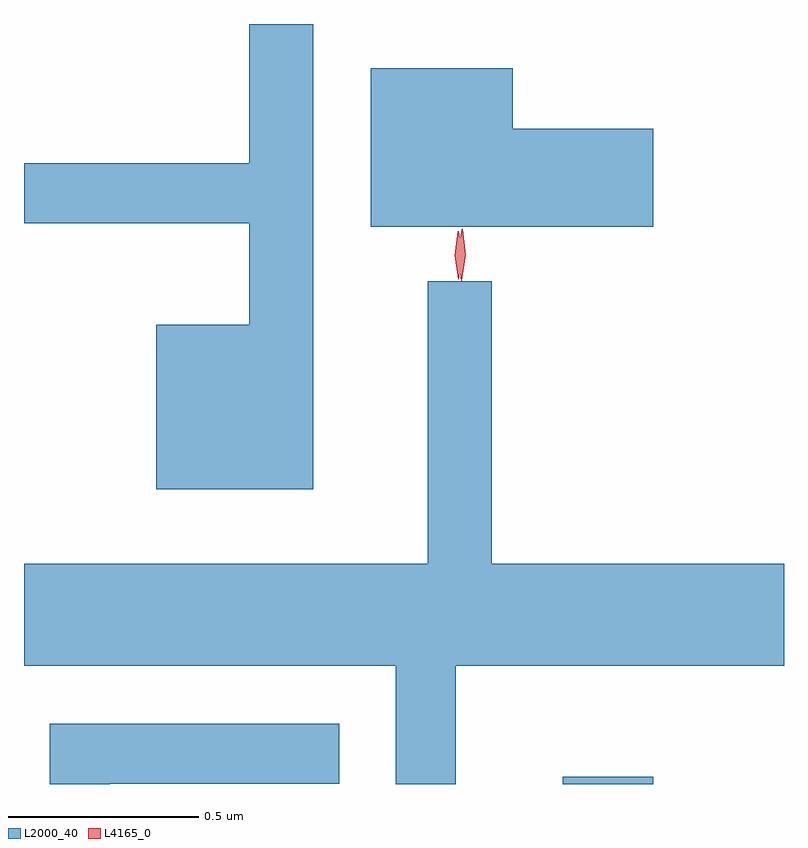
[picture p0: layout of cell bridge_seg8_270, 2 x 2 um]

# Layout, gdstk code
import gdstk
lib = gdstk.Library(unit=1e-6, precision=1e-09)
def R(c, l, rs):  # rectangles x0, y0, x1, y1
    for r in rs: c.add(gdstk.rectangle(r[:2], r[2:], *l))
def P(c, l, *ps):  # polygons
    for p in ps: c.add(gdstk.Polygon(p, *l))
L2000_40 = (2000, 40)
L4165_0 = (4165, 0)

bridge_seg8_270 = lib.new_cell('bridge_seg8_270')
R(bridge_seg8_270, L2000_40, [(1228.316,1825.005,1228.554,1825.024)])
P(bridge_seg8_270, L2000_40, [(1227.659,1827.005),(1227.491,1827.005),(1227.491,1826.639),(1226.898,1826.639),(1226.898,1826.481),(1227.491,1826.481),(1227.491,1826.214),(1227.246,1826.214),(1227.246,1825.781),(1227.659,1825.781)],
  [(1228.554,1826.729),(1228.184,1826.729),(1228.184,1826.889),(1227.811,1826.889),(1227.811,1826.471),(1228.554,1826.471)],
  [(1228.034,1825.316),(1228.898,1825.316),(1228.898,1825.584),(1228.129,1825.584),(1228.129,1826.328),(1227.961,1826.328),(1227.961,1825.584),(1226.898,1825.584),(1226.898,1825.316),(1227.876,1825.316),(1227.876,1825.005),(1228.034,1825.005)],
  [(1227.124,1825.006),(1227.728,1825.006),(1227.728,1825.164),(1226.966,1825.164),(1226.966,1825.005),(1227.124,1825.005)])
P(bridge_seg8_270, L4165_0, [(1228.049,1826.33),(1228.049,1826.33),(1228.04,1826.398),(1228.05,1826.465),(1228.051,1826.466),(1228.052,1826.465),(1228.06,1826.398),(1228.05,1826.33)],
  [(1228.041,1826.333),(1228.031,1826.396),(1228.04,1826.459),(1228.041,1826.46),(1228.042,1826.459),(1228.051,1826.396),(1228.042,1826.333),(1228.042,1826.333)])

lib.write_gds('bridge_seg8_270.gds')
